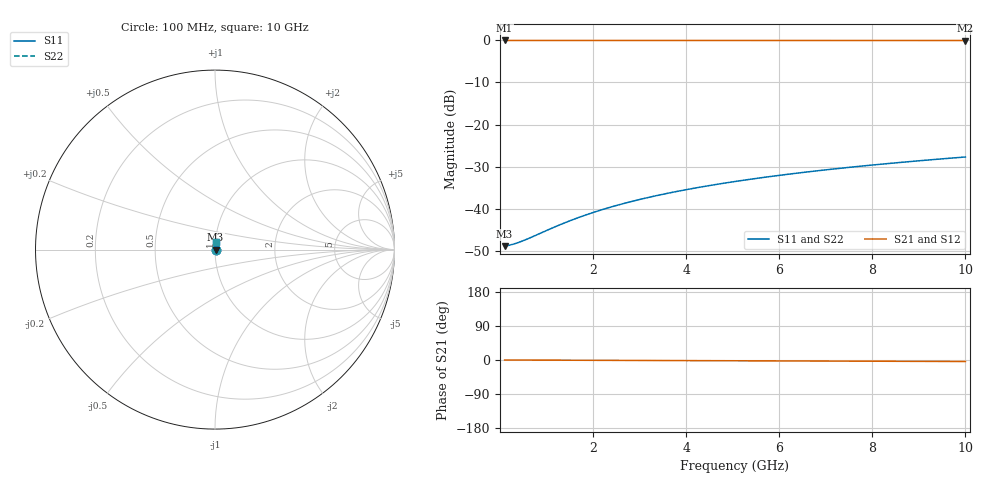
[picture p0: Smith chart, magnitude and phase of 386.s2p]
# Hz S RI R 50.00
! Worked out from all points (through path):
!   100 points, 100 MHz to 10 GHz, reference 50 ohm
!   highest |S21| = -0.03 dB at 100 MHz (marker M1); lowest = 0.0 dB at 10 GHz (marker M2)
!   lowest |S11| = -48.9 dB at 100 MHz (marker M3), VSWR 1.01, Z = 50.4 + j0.041 ohm
!   |S11| at or under -10 dB: start of sweep to end of sweep
!   |S22| runs from -48.9 to -27.7 dB; largest |S21 - S12| = 0
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1e8  0.00357 0.000407  0.9964 -0.000693  0.9964 -0.000693  0.00357 0.000407
2e8  0.00359 0.000815  0.9964 -0.00139  0.9964 -0.00139  0.00359 0.000815
3e8  0.00361 0.00122  0.9964 -0.00208  0.9964 -0.00208  0.00361 0.00122
4e8  0.00362 0.00163  0.9964 -0.00277  0.9964 -0.00277  0.00362 0.00163
5e8  0.00364 0.00204  0.9964 -0.00347  0.9964 -0.00347  0.00364 0.00204
1.3e9  0.00374 0.00529  0.9962 -0.00901  0.9962 -0.00901  0.00374 0.00529
1.5e9  0.00377 0.00611  0.9962 -0.0104  0.9962 -0.0104  0.00377 0.00611
1.8e9  0.00381 0.00733  0.9962 -0.0125  0.9962 -0.0125  0.00381 0.00733
2.1e9  0.00386 0.00855  0.9961 -0.0146  0.9961 -0.0146  0.00386 0.00855
2.5e9  0.00393 0.0102  0.996 -0.0173  0.996 -0.0173  0.00393 0.0102
2.9e9  0.004 0.0118  0.996 -0.0201  0.996 -0.0201  0.004 0.0118
3.4e9  0.00411 0.0138  0.9958 -0.0236  0.9958 -0.0236  0.00411 0.0138
3.8e9  0.0042 0.0155  0.9957 -0.0263  0.9957 -0.0263  0.0042 0.0155
4.2e9  0.00431 0.0171  0.9956 -0.0291  0.9956 -0.0291  0.00431 0.0171
4.6e9  0.00442 0.0187  0.9955 -0.0319  0.9955 -0.0319  0.00442 0.0187
5.1e9  0.00457 0.0207  0.9953 -0.0353  0.9953 -0.0353  0.00457 0.0207
5.9e9  0.00484 0.024  0.995 -0.0409  0.995 -0.0409  0.00484 0.024
6.7e9  0.00515 0.0272  0.9947 -0.0464  0.9947 -0.0464  0.00515 0.0272
7.5e9  0.00549 0.0305  0.9943 -0.0519  0.9943 -0.0519  0.00549 0.0305
8.4e9  0.00591 0.0341  0.9938 -0.0582  0.9938 -0.0582  0.00591 0.0341
9.2e9  0.00633 0.0374  0.9933 -0.0637  0.9933 -0.0637  0.00633 0.0374
1e10  0.00679 0.0406  0.9928 -0.0692  0.9928 -0.0692  0.00679 0.0406
